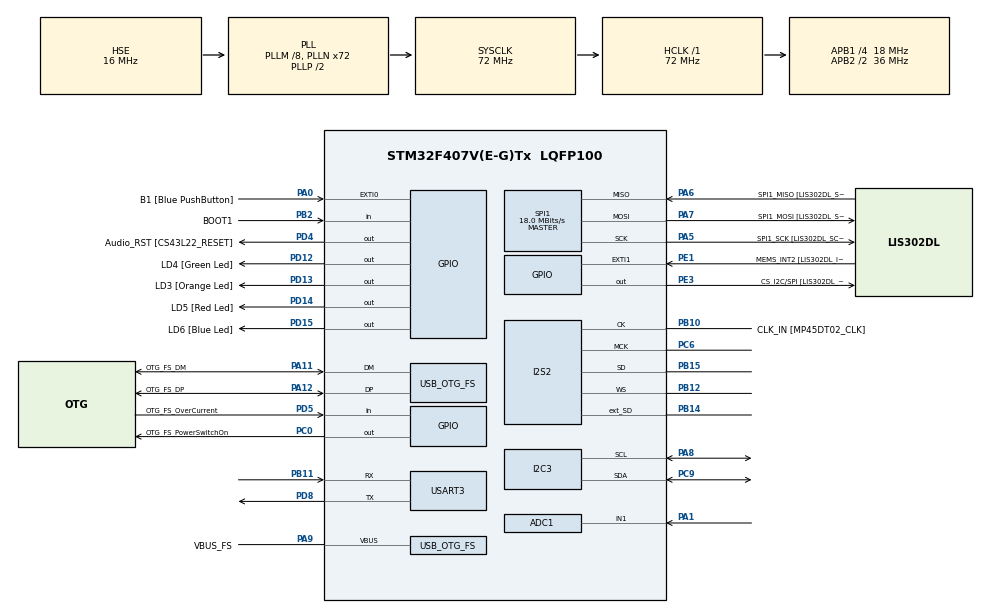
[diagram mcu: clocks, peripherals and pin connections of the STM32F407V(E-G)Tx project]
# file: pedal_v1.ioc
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ADC1.Channel-1\#ChannelRegularConversion=ADC_CHANNEL_1
ADC1.DMAContinuousRequests=ENABLE
ADC1.ExternalTrigConv=ADC_EXTERNALTRIGCONV_T2_TRGO
ADC1.NbrOfConversion=1
ADC1.NbrOfConversionFlag=1
ADC1.Rank-1\#ChannelRegularConversion=1
ADC1.Resolution=ADC_RESOLUTION_12B
ADC1.SamplingTime-1\#ChannelRegularConversion=ADC_SAMPLETIME_144CYCLES
ADC1.master=1
Dma.ADC1.2.Direction=DMA_PERIPH_TO_MEMORY
Dma.ADC1.2.FIFOMode=DMA_FIFOMODE_DISABLE
Dma.ADC1.2.Instance=DMA2_Stream0
Dma.ADC1.2.MemDataAlignment=DMA_MDATAALIGN_HALFWORD
Dma.ADC1.2.MemInc=DMA_MINC_ENABLE
Dma.ADC1.2.Mode=DMA_CIRCULAR
Dma.ADC1.2.PeriphDataAlignment=DMA_PDATAALIGN_HALFWORD
Dma.ADC1.2.PeriphInc=DMA_PINC_DISABLE
Dma.ADC1.2.Priority=DMA_PRIORITY_LOW
Dma.I2S2_EXT_RX.0.Direction=DMA_PERIPH_TO_MEMORY
Dma.I2S2_EXT_RX.0.FIFOMode=DMA_FIFOMODE_DISABLE
Dma.I2S2_EXT_RX.0.Instance=DMA1_Stream3
Dma.I2S2_EXT_RX.0.MemDataAlignment=DMA_MDATAALIGN_HALFWORD
Dma.I2S2_EXT_RX.0.MemInc=DMA_MINC_ENABLE
Dma.I2S2_EXT_RX.0.Mode=DMA_CIRCULAR
Dma.I2S2_EXT_RX.0.PeriphDataAlignment=DMA_PDATAALIGN_HALFWORD
Dma.I2S2_EXT_RX.0.PeriphInc=DMA_PINC_DISABLE
Dma.I2S2_EXT_RX.0.Priority=DMA_PRIORITY_VERY_HIGH
Dma.Request0=I2S2_EXT_RX
Dma.Request1=SPI2_TX
Dma.Request2=ADC1
Dma.SPI2_TX.1.Direction=DMA_MEMORY_TO_PERIPH
Dma.SPI2_TX.1.FIFOMode=DMA_FIFOMODE_DISABLE
Dma.SPI2_TX.1.Instance=DMA1_Stream4
Dma.SPI2_TX.1.MemDataAlignment=DMA_MDATAALIGN_HALFWORD
Dma.SPI2_TX.1.MemInc=DMA_MINC_ENABLE
Dma.SPI2_TX.1.Mode=DMA_CIRCULAR
Dma.SPI2_TX.1.PeriphDataAlignment=DMA_PDATAALIGN_HALFWORD
Dma.SPI2_TX.1.PeriphInc=DMA_PINC_DISABLE
Dma.SPI2_TX.1.Priority=DMA_PRIORITY_VERY_HIGH
I2S2.AudioFreq=I2S_AUDIOFREQ_44K
I2S2.DataFormat=I2S_DATAFORMAT_24B
I2S2.ErrorAudioFreq=-5.3 %
I2S2.FullDuplexMode=I2S_FULLDUPLEXMODE_ENABLE
I2S2.Instance=SPI$Index
I2S2.RealAudioFreq=41.666 KHz
I2S2.VirtualMode=I2S_MODE_MASTER
Mcu.Family=STM32F4
Mcu.Name=STM32F407V(E-G)Tx
Mcu.Package=LQFP100
NVIC.DMA1_Stream3_IRQn=true\:0\:0\:false\:false\:true\:false\:true\:true
NVIC.DMA1_Stream4_IRQn=true\:0\:0\:false\:false\:true\:false\:true\:true
NVIC.DMA2_Stream0_IRQn=true\:0\:0\:false\:false\:true\:false\:true\:true
NVIC.OTG_FS_IRQn=true\:0\:0\:false\:false\:true\:true\:true\:true
NVIC.PriorityGroup=NVIC_PRIORITYGROUP_0
NVIC.SPI2_IRQn=true\:0\:0\:false\:false\:true\:true\:true\:true
PA0-WKUP.GPIO_Label=B1 [Blue PushButton]
PA0-WKUP.GPIO_ModeDefaultEXTI=GPIO_MODE_EVT_RISING
PA0-WKUP.GPIO_PuPd=GPIO_NOPULL
PA0-WKUP.Signal=GPXTI0
PA1.Signal=ADCx_IN1
PA10.GPIO_Label=OTG_FS_ID
PA10.GPIO_Mode=GPIO_MODE_AF_PP
PA10.GPIO_PuPd=GPIO_NOPULL
PA10.GPIO_Speed=GPIO_SPEED_FREQ_LOW
PA10.Signal=USB_OTG_FS_ID
PA11.GPIO_Label=OTG_FS_DM
PA11.GPIO_Mode=GPIO_MODE_AF_PP
PA11.GPIO_PuPd=GPIO_NOPULL
PA11.GPIO_Speed=GPIO_SPEED_FREQ_LOW
PA11.Mode=Host_Only
PA11.Signal=USB_OTG_FS_DM
PA12.GPIO_Label=OTG_FS_DP
PA12.GPIO_Mode=GPIO_MODE_AF_PP
PA12.GPIO_PuPd=GPIO_NOPULL
PA12.GPIO_Speed=GPIO_SPEED_FREQ_LOW
PA12.Mode=Host_Only
PA12.Signal=USB_OTG_FS_DP
PA13.GPIO_Label=SWDIO
PA13.Mode=Serial_Wire
PA13.Signal=SYS_JTMS-SWDIO
PA14.GPIO_Label=SWCLK
PA14.Mode=Serial_Wire
PA14.Signal=SYS_JTCK-SWCLK
PA4.Signal=COMP_DAC1_group
PA5.GPIO_Label=SPI1_SCK [LIS302DL_SCL/SPC]
PA5.GPIO_Mode=GPIO_MODE_AF_PP
PA5.GPIO_PuPd=GPIO_NOPULL
PA5.GPIO_Speed=GPIO_SPEED_FREQ_LOW
PA5.Mode=Full_Duplex_Master
PA5.Signal=SPI1_SCK
PA6.GPIO_Label=SPI1_MISO [LIS302DL_SDO]
PA6.GPIO_Mode=GPIO_MODE_AF_PP
PA6.GPIO_PuPd=GPIO_NOPULL
PA6.GPIO_Speed=GPIO_SPEED_FREQ_LOW
PA6.Mode=Full_Duplex_Master
PA6.Signal=SPI1_MISO
PA7.GPIO_Label=SPI1_MOSI [LIS302DL_SDA/SDI/SDO]
PA7.GPIO_Mode=GPIO_MODE_AF_PP
PA7.GPIO_PuPd=GPIO_NOPULL
PA7.GPIO_Speed=GPIO_SPEED_FREQ_LOW
PA7.Mode=Full_Duplex_Master
PA7.Signal=SPI1_MOSI
PA8.Mode=I2C
PA8.Signal=I2C3_SCL
PA9.GPIO_Label=VBUS_FS
PA9.GPIO_Mode=GPIO_MODE_INPUT
PA9.GPIO_PuPd=GPIO_NOPULL
PA9.Mode=Activate_VBUS
PA9.Signal=USB_OTG_FS_VBUS
PB10.GPIO_Label=CLK_IN [MP45DT02_CLK]
PB10.GPIO_Mode=GPIO_MODE_AF_PP
PB10.GPIO_PuPd=GPIO_NOPULL
PB10.GPIO_Speed=GPIO_SPEED_FREQ_LOW
PB10.Mode=Full_Duplex_Master
PB10.Signal=I2S2_CK
PB11.Mode=Asynchronous
PB11.Signal=USART3_RX
PB12.Mode=Full_Duplex_Master
PB12.Signal=I2S2_WS
PB14.Mode=Full_Duplex_Master
PB14.Signal=I2S2_ext_SD
PB15.Mode=Full_Duplex_Master
PB15.Signal=I2S2_SD
PB2.GPIO_Label=BOOT1
PB2.GPIO_Mode=GPIO_MODE_INPUT
PB2.GPIO_PuPd=GPIO_NOPULL
PB2.Signal=GPIO_Input
PB3.GPIO_Label=SWO
PB3.Signal=SYS_JTDO-SWO
PB6.GPIO_Label=Audio_SCL [CS43L22_SCL]
PB6.GPIO_Mode=GPIO_MODE_AF_OD
PB6.GPIO_Pu=GPIO_PULLUP
PB6.GPIO_PuPd=GPIO_NOPULL
PB6.GPIO_Speed=GPIO_SPEED_FREQ_LOW
PB6.Signal=I2C1_SCL
PB9.GPIO_Label=Audio_SDA [CS43L22_SDA]
PB9.GPIO_Mode=GPIO_MODE_AF_OD
PB9.GPIO_Pu=GPIO_PULLUP
PB9.GPIO_PuPd=GPIO_NOPULL
PB9.GPIO_Speed=GPIO_SPEED_FREQ_LOW
PB9.Signal=I2C1_SDA
PC0.GPIO_Label=OTG_FS_PowerSwitchOn
PC0.GPIO_PuPd=GPIO_NOPULL
PC0.GPIO_Speed=GPIO_SPEED_FREQ_LOW
PC0.PinState=GPIO_PIN_SET
PC0.Signal=GPIO_Output
PC10.GPIO_Label=I2S3_SCK [CS43L22_SCLK]
PC10.GPIO_Mode=GPIO_MODE_AF_PP
PC10.GPIO_PuPd=GPIO_NOPULL
PC10.GPIO_Speed=GPIO_SPEED_FREQ_LOW
PC10.Signal=I2S3_CK
PC12.GPIO_Label=I2S3_SD [CS43L22_SDIN]
PC12.GPIO_Mode=GPIO_MODE_AF_PP
PC12.GPIO_PuPd=GPIO_NOPULL
PC12.GPIO_Speed=GPIO_SPEED_FREQ_LOW
PC12.Signal=I2S3_SD
PC14-OSC32_IN.GPIO_Label=PC14-OSC32_IN
PC14-OSC32_IN.Mode=LSE-External-Oscillator
PC14-OSC32_IN.Signal=RCC_OSC32_IN
PC15-OSC32_OUT.GPIO_Label=PC15-OSC32_OUT
PC15-OSC32_OUT.Mode=LSE-External-Oscillator
PC15-OSC32_OUT.Signal=RCC_OSC32_OUT
PC6.Mode=Master_Clock_Activated
PC6.Signal=I2S2_MCK
PC7.GPIO_Label=I2S3_MCK [CS43L22_MCLK]
PC7.GPIO_Mode=GPIO_MODE_AF_PP
PC7.GPIO_PuPd=GPIO_NOPULL
PC7.GPIO_Speed=GPIO_SPEED_FREQ_LOW
PC7.Signal=I2S3_MCK
PC9.Mode=I2C
PC9.Signal=I2C3_SDA
PD12.GPIO_Label=LD4 [Green Led]
PD12.GPIO_PuPd=GPIO_NOPULL
PD12.GPIO_Speed=GPIO_SPEED_FREQ_LOW
PD12.Signal=GPIO_Output
PD13.GPIO_Label=LD3 [Orange Led]
PD13.GPIO_PuPd=GPIO_NOPULL
PD13.GPIO_Speed=GPIO_SPEED_FREQ_LOW
PD13.Signal=GPIO_Output
PD14.GPIO_Label=LD5 [Red Led]
PD14.GPIO_PuPd=GPIO_NOPULL
PD14.GPIO_Speed=GPIO_SPEED_FREQ_LOW
PD14.Signal=GPIO_Output
PD15.GPIO_Label=LD6 [Blue Led]
PD15.GPIO_PuPd=GPIO_NOPULL
PD15.GPIO_Speed=GPIO_SPEED_FREQ_LOW
PD15.Signal=GPIO_Output
PD4.GPIO_Label=Audio_RST [CS43L22_RESET]
PD4.GPIO_PuPd=GPIO_NOPULL
PD4.GPIO_Speed=GPIO_SPEED_FREQ_LOW
PD4.Signal=GPIO_Output
PD5.GPIO_Label=OTG_FS_OverCurrent
PD5.GPIO_Mode=GPIO_MODE_INPUT
PD5.GPIO_PuPd=GPIO_NOPULL
PD5.Signal=GPIO_Input
PD8.Mode=Asynchronous
PD8.Signal=USART3_TX
PE1.GPIO_Label=MEMS_INT2 [LIS302DL_INT2]
PE1.GPIO_ModeDefaultEXTI=GPIO_MODE_EVT_RISING
PE1.GPIO_PuPd=GPIO_NOPULL
PE1.Signal=GPXTI1
PE3.GPIO_Label=CS_I2C/SPI [LIS302DL_CS_I2C/SPI]
PE3.GPIO_PuPd=GPIO_NOPULL
PE3.GPIO_Speed=GPIO_SPEED_FREQ_LOW
PE3.Signal=GPIO_Output
PH0-OSC_IN.GPIO_Label=PH0-OSC_IN
PH0-OSC_IN.Mode=HSE-External-Oscillator
PH0-OSC_IN.Signal=RCC_OSC_IN
PH1-OSC_OUT.GPIO_Label=PH1-OSC_OUT
PH1-OSC_OUT.Mode=HSE-External-Oscillator
PH1-OSC_OUT.Signal=RCC_OSC_OUT
ProjectManager.HeapSize=0x200
ProjectManager.StackSize=0x400
ProjectManager.TargetToolchain=STM32CubeIDE
RCC.48MHZClocksFreq_Value=48000000
RCC.AHBFreq_Value=72000000
RCC.APB1CLKDivider=RCC_HCLK_DIV4
RCC.APB1Freq_Value=18000000
RCC.APB1TimFreq_Value=36000000
RCC.APB2CLKDivider=RCC_HCLK_DIV2
RCC.APB2Freq_Value=36000000
RCC.APB2TimFreq_Value=72000000
RCC.CortexFreq_Value=72000000
RCC.HCLKFreq_Value=72000000
RCC.HSE_VALUE=16000000
RCC.HSI_VALUE=16000000
RCC.PLLI2SN=96
RCC.PLLM=8
RCC.PLLN=72
RCC.PLLQ=3
RCC.SYSCLKFreq_VALUE=72000000
RCC.SYSCLKSource=RCC_SYSCLKSOURCE_PLLCLK
RCC.VCOOutputFreq_Value=144000000
SH.ADCx_IN1.0=ADC1_IN1,IN1
SH.COMP_DAC1_group.0=DAC_OUT1
SPI1.CalculateBaudRate=18.0 MBits/s
SPI1.Direction=SPI_DIRECTION_2LINES
SPI1.Mode=SPI_MODE_MASTER
SPI1.VirtualType=VM_MASTER
TIM2.Channel-PWM\ Generation1\ No\ Output=TIM_CHANNEL_1
TIM2.Period=100-1
TIM2.Prescaler=3600-1
TIM2.TIM_MasterOutputTrigger=TIM_TRGO_UPDATE
USART3.VirtualMode=VM_ASYNC
USB_HOST.BSP.number=1
USB_HOST.USBH_HandleTypeDef-CDC_FS=hUsbHostFS
USB_HOST.VirtualModeFS=Cdc
USB_HOST0.BSP.STBoard=false
USB_HOST0.BSP.api=Unknown
USB_HOST0.BSP.condition=SW_VBUS_DRIVE_CDC_FS \= false
USB_HOST0.BSP.instance=I2C3
USB_HOST0.BSP.ip=I2C
USB_HOST0.BSP.mode=I2C
USB_HOST0.BSP.name=Drive_VBUS_FS
USB_HOST0.BSP.solution=I2C3
USB_OTG_FS.VirtualMode=Host_Only
USB_OTG_FS.phy_itface=HCD_PHY_EMBEDDED
VP_TIM2_VS_ClockSourceINT.Mode=Internal
VP_TIM2_VS_no_output1.Mode=PWM Generation1 No Output
VP_USB_HOST_VS_USB_HOST_CDC_FS.Mode=CDC_FS
board=STM32F407G-DISC1

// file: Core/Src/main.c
/* USER CODE BEGIN Header */
/**
  ******************************************************************************
  * @file           : main.c
  * @brief          : Main program body
  ******************************************************************************
  * @attention
  *
  * Copyright (c) 2025 STMicroelectronics.
  * All rights reserved.
  *
  * This software is licensed under terms that can be found in the LICENSE file
  * in the root directory of this software component.
  * If no LICENSE file comes with this software, it is provided AS-IS.
  *
  ******************************************************************************
  */
/* USER CODE END Header */
#include "main.h"
#include "adc.h"
#include "dma.h"
#include "i2c.h"
#include "i2s.h"
#include "spi.h"
#include "tim.h"
#include "usart.h"
#include "usb_host.h"
#include "gpio.h"

/* USER CODE BEGIN Includes */
#include "usart.h"
#include "cs43l22.h"
#include "overdrive.h"
#include "tremolo.h"
#include <stdio.h>
#include <math.h>
/* USER CODE END Includes */

void SystemClock_Config(void);
void MX_USB_HOST_Process(void);

/* USER CODE BEGIN PFP */
#define BLOCK_SIZE_FLOAT 128
#define BLOCK_SIZE_U16 512
#define OD_GAIN 100.0f
#define TR_DEPTH 0.5f // Depth 0.0 (passthrough) to 1.0 (full wub)
#define TR_RATE 5.0f // Hz

uint8_t callback_state = 0;
uint16_t adcControlData[1];
uint16_t adcControlDataLast = 69;

uint16_t rxBuf[BLOCK_SIZE_U16*2];
uint16_t txBuf[BLOCK_SIZE_U16*2];
float l_buf_in [BLOCK_SIZE_FLOAT*2];
float r_buf_in [BLOCK_SIZE_FLOAT*2];
float l_buf_out [BLOCK_SIZE_FLOAT*2];
float r_buf_out [BLOCK_SIZE_FLOAT*2];
Overdrive od;
Tremolo tr;

/* USER CODE END PFP */

/* USER CODE BEGIN 0 */
// === DMA callbacks ===

// FOR DOUBLE BUFFERING
// Half complete buffer
void HAL_I2SEx_TxRxHalfCpltCallback(I2S_HandleTypeDef *hi2s){
	callback_state = 1;
}

// Fully complete buffer
void HAL_I2SEx_TxRxCpltCallback(I2S_HandleTypeDef *hi2s){
	callback_state = 2;
}
/* USER CODE END 0 */

int main(void)
{

  /* MCU Configuration--------------------------------------------------------*/

  /* Reset of all peripherals, Initializes the Flash interface and the Systick. */
  HAL_Init();

  /* Configure the system clock */
  SystemClock_Config();

  /* Initialize all configured peripherals */
  MX_GPIO_Init();
  MX_DMA_Init();
  MX_USART3_UART_Init();
  MX_SPI1_Init();
  MX_I2C3_Init();
  MX_USB_HOST_Init();
  MX_I2S2_Init();
  MX_ADC1_Init();
  MX_TIM2_Init();
  /* USER CODE BEGIN 2 */

  // Initialize overdrive
  // 41.6kHz Fs
  // 800Hz HPF input stage
  // 4000Hz LPF output stage
  // See OD_GAIN defined in user defines
  Overdrive_Init(&od, 41666.0f, 800.0f, 4000.0f, OD_GAIN);

  // Initialize Tremolo
  Tremolo_Init(&tr, 41666.0f, TR_RATE, TR_DEPTH);

  // Initialize I2S DMA
  HAL_I2SEx_TransmitReceive_DMA (&hi2s2, txBuf, rxBuf, BLOCK_SIZE_U16);
  int offset_r_ptr;
  int offset_w_ptr, w_ptr;

  // Initialize pot ADC
  HAL_ADC_Start_DMA(&hadc1, (uint32_t*)adcControlData, 1);
  HAL_TIM_Base_Start(&htim2);

  /* USER CODE END 2 */

  /* Infinite loop */
  /* USER CODE BEGIN WHILE */
  while (1)
  {
	  if (fabs(adcControlDataLast - adcControlData[0]) > 10) {
//		  Tremolo_Set_Depth(&tr, adcControlData[0] / 4095.0f);
		  Overdrive_Set_Gain(&od, 100.0f * adcControlData[0] / 4095.0f);
		  HAL_GPIO_TogglePin(GPIOD, GPIO_PIN_15);
	  }

	  adcControlDataLast = adcControlData[0];

	  if (callback_state != 0) {

		  // decide if it was half or cplt callback
		  if (callback_state == 1)   {
			  	  offset_r_ptr = 0;
			  	  offset_w_ptr = 0;
			  	  w_ptr = 0;
			  	  // Set pointer to first half of DMA
			  }

		  else if (callback_state == 2) {
			  offset_r_ptr = BLOCK_SIZE_U16;
			  offset_w_ptr = BLOCK_SIZE_FLOAT;
			  w_ptr = BLOCK_SIZE_FLOAT;
			  // Set pointer to second half of DMA
		  }

		  //restore input sample buffer to float array
		  for (int i=offset_r_ptr; i<offset_r_ptr+BLOCK_SIZE_U16; i=i+4) {

			  // Rebuild signed 24-bit sample from 16-bit rxBuf
			  int32_t sample_l = ((int32_t)(rxBuf[i] << 16) | (rxBuf[i + 1]));

			  // Convert to float in range [-1.0f, 1.0f] for easier DSP
			  float sample_f_l = sample_l / 2147483648.0f;  // 2^31

			  // Light up debug LED if this is somehow outside of range
			  if (sample_f_l > 1.0f | sample_f_l < -1.0f) {
				  HAL_GPIO_TogglePin(GPIOD, GPIO_PIN_15);
			  }
			  l_buf_in[w_ptr] = sample_f_l;

			  // Repeat for right channel
			  int32_t sample_r = ((int32_t)(rxBuf[i + 2] << 16) | (rxBuf[i + 3]));
			  float sample_f_r = sample_r / 2147483648.0f;
			  r_buf_in[w_ptr] = sample_f_r;

			  w_ptr++;
		  }

		  for (int i=offset_w_ptr; i<offset_w_ptr+BLOCK_SIZE_FLOAT; i++) {
			  // CODE FOR PASSTHROUGH, DON'T DELETE
//			  l_buf_out[i] = l_buf_in[i];
//			  r_buf_out[i] = r_buf_in[i];

//			  // Populate output buffer with overdrive-processed input buffer data
			  l_buf_out[i] = Overdrive_Update(&od, l_buf_in[i])/32.0f; // 1/16 for appropriate amp-level volume
			  r_buf_out[i] = Overdrive_Update(&od, r_buf_in[i])/32.0f;

			  // Populate output buffer with tremolo-processed input buffer data
//			  l_buf_out[i] = Tremolo_Update(&tr, l_buf_in[i]); // 1/16 for appropriate amp-level volume
//			  r_buf_out[i] = Tremolo_Update(&tr, l_buf_in[i]);
		  }

		  //restore processed float-array to output sample-buffer
		  w_ptr = offset_w_ptr;

		  for (int i=offset_r_ptr; i<offset_r_ptr+BLOCK_SIZE_U16; i=i+4) {
			  int sample_out_l = (int)(l_buf_out[w_ptr] * 2147483648.0f);  // back to 24-bit signed
			  txBuf[i]   = (sample_out_l >> 16) & 0xFFFF;  // upper 16 bits
			  txBuf[i+1] = sample_out_l & 0xFFFF;          // lower 16 bits
			  int sample_out_r = (int)(r_buf_out[w_ptr] * 2147483648.0f);  // back to 24-bit signed
			  txBuf[i+2]   = (sample_out_r >> 16) & 0xFFFF;  // upper 16 bits
			  txBuf[i+3] = sample_out_r & 0xFFFF;          // lower 16 bits
			  w_ptr++;
		  }

		  callback_state = 0;

	  }
    /* USER CODE END WHILE */
    MX_USB_HOST_Process();

  }
}

void SystemClock_Config(void)
{
  RCC_OscInitTypeDef RCC_OscInitStruct = {0};
  RCC_ClkInitTypeDef RCC_ClkInitStruct = {0};

  /** Configure the main internal regulator output voltage
  */
  __HAL_RCC_PWR_CLK_ENABLE();
  __HAL_PWR_VOLTAGESCALING_CONFIG(PWR_REGULATOR_VOLTAGE_SCALE1);

  /** Initializes the RCC Oscillators according to the specified parameters
  * in the RCC_OscInitTypeDef structure.
  */
  RCC_OscInitStruct.OscillatorType = RCC_OSCILLATORTYPE_HSE;
  RCC_OscInitStruct.HSEState = RCC_HSE_ON;
  RCC_OscInitStruct.PLL.PLLState = RCC_PLL_ON;
  RCC_OscInitStruct.PLL.PLLSource = RCC_PLLSOURCE_HSE;
  RCC_OscInitStruct.PLL.PLLM = 8;
  RCC_OscInitStruct.PLL.PLLN = 72;
  RCC_OscInitStruct.PLL.PLLP = RCC_PLLP_DIV2;
  RCC_OscInitStruct.PLL.PLLQ = 3;
  if (HAL_RCC_OscConfig(&RCC_OscInitStruct) != HAL_OK)
  {
    Error_Handler();
  }

  /** Initializes the CPU, AHB and APB buses clocks
  */
  RCC_ClkInitStruct.ClockType = RCC_CLOCKTYPE_HCLK|RCC_CLOCKTYPE_SYSCLK
                              |RCC_CLOCKTYPE_PCLK1|RCC_CLOCKTYPE_PCLK2;
  RCC_ClkInitStruct.SYSCLKSource = RCC_SYSCLKSOURCE_PLLCLK;
  RCC_ClkInitStruct.AHBCLKDivider = RCC_SYSCLK_DIV1;
  RCC_ClkInitStruct.APB1CLKDivider = RCC_HCLK_DIV4;
  RCC_ClkInitStruct.APB2CLKDivider = RCC_HCLK_DIV2;

  if (HAL_RCC_ClockConfig(&RCC_ClkInitStruct, FLASH_LATENCY_2) != HAL_OK)
  {
    Error_Handler();
  }
}

/* USER CODE BEGIN 4 */
int _write(int file, char *ptr, int len)
{
  (void)file;
  int DataIdx;

  for (DataIdx = 0; DataIdx < len; DataIdx++)
  {
    ITM_SendChar(*ptr++);
  }
  return len;
}
/* USER CODE END 4 */

void Error_Handler(void)
{
  __disable_irq();
  while (1)
  {
  }
}
